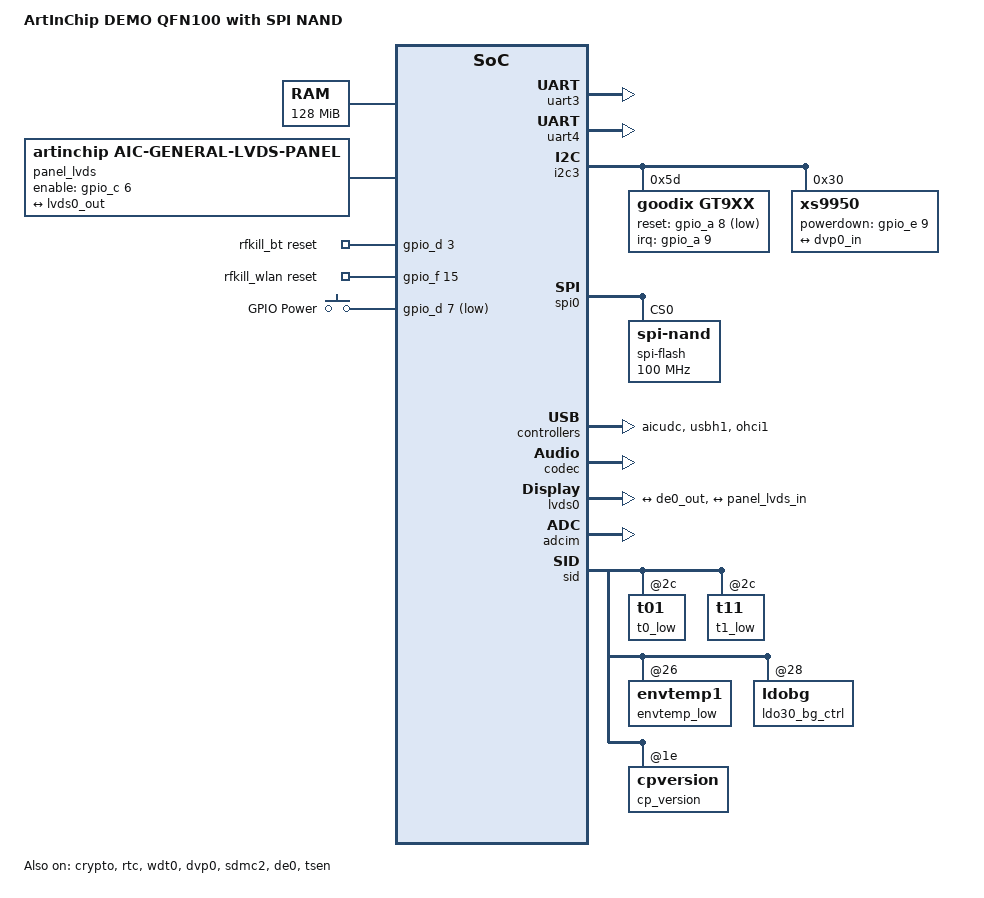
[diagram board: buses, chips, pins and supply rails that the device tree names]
/*
 * Copyright (C) 2020-2022 ArtInChip Technology Co., Ltd.
 *
 * This file is dual-licensed: you can use it either under the terms
 * of the GPL or the X11 license, at your option. Note that this dual
 * licensing only applies to this file, and not this project as a
 * whole.
 *
 *  a) This file is free software; you can redistribute it and/or
 *     modify it under the terms of the GNU General Public License as
 *     published by the Free Software Foundation; either version 2 of the
 *     License, or (at your option) any later version.
 *
 *     This file is distributed in the hope that it will be useful,
 *     but WITHOUT ANY WARRANTY; without even the implied warranty of
 *     MERCHANTABILITY or FITNESS FOR A PARTICULAR PURPOSE.  See the
 *     GNU General Public License for more details.
 *
 * Or, alternatively,
 *
 *  b) Permission is hereby granted, free of charge, to any person
 *     obtaining a copy of this software and associated documentation
 *     files (the "Software"), to deal in the Software without
 *     restriction, including without limitation the rights to use,
 *     copy, modify, merge, publish, distribute, sublicense, and/or
 *     sell copies of the Software, and to permit persons to whom the
 *     Software is furnished to do so, subject to the following
 *     conditions:
 *
 *     The above copyright notice and this permission notice shall be
 *     included in all copies or substantial portions of the Software.
 *
 *     THE SOFTWARE IS PROVIDED "AS IS", WITHOUT WARRANTY OF ANY KIND,
 *     EXPRESS OR IMPLIED, INCLUDING BUT NOT LIMITED TO THE WARRANTIES
 *     OF MERCHANTABILITY, FITNESS FOR A PARTICULAR PURPOSE AND
 *     NONINFRINGEMENT. IN NO EVENT SHALL THE AUTHORS OR COPYRIGHT
 *     HOLDERS BE LIABLE FOR ANY CLAIM, DAMAGES OR OTHER LIABILITY,
 *     WHETHER IN AN ACTION OF CONTRACT, TORT OR OTHERWISE, ARISING
 *     FROM, OUT OF OR IN CONNECTION WITH THE SOFTWARE OR THE USE OR
 *     OTHER DEALINGS IN THE SOFTWARE.
 */

/dts-v1/;
#include "d211.dtsi"
#include "d211-pinctrl.dtsi"
#include <dt-bindings/display/artinchip,aic-disp.h>
#include <dt-bindings/gpio/gpio.h>
#include <dt-bindings/pwm/pwm.h>
#include <dt-bindings/input/input.h>
#include <dt-bindings/input/linux-event-codes.h>

/ {
	model = "ArtInChip DEMO QFN100 with SPI NAND";
	compatible = "artinchip,d211";
	package = "QFN100";

	aliases {
		gpio0 = &gpio_a;
		gpio1 = &gpio_b;
		gpio2 = &gpio_c;
		gpio3 = &gpio_d;
		gpio4 = &gpio_e;
		gpio5 = &gpio_f;
		pinctrl = &pinctrl;
		serial0 = &uart0;
		serial1 = &uart1;
		serial2 = &uart2;
		serial3 = &uart3;
		serial4 = &uart4;
		serial5 = &uart5;
		serial6 = &uart6;
		serial7 = &uart7;
		i2c0 = &i2c0;
		i2c1 = &i2c1;
		i2c2 = &i2c2;
		i2c3 = &i2c3;
		can0 = &can0;
		can1 = &can1;
		spi0 = &spi0;
		spi1 = &spi1;
		spi2 = &spi2;
		spi3 = &spi3;
		gmac0 = &gmac0;
		gmac1 = &gmac1;
		rtc = &rtc;
		wdt0 = &wdt0;
		fb0 = &fb0;
		de0 = &de0;
		lvds0 = &lvds0;
		rgb0 = &rgb0;
		dsi0 = &dsi0;
		dvp0 = &dvp0;
		cir = &cir;
		adcim = &adcim;
		gpai = &gpai;
		rtp = &rtp;
		tsen = &tsen;
		pwm = &pwm;
		epwm = &epwm;
		cap = &cap;
		sdmc0 = &sdmc0;
		sdmc1 = &sdmc1;
		sdmc2 = &sdmc2;
		dma = &dma;
		crypto = &crypto;
		sid = &sid;
		mtop = &mtop;
		codec = &codec;
		wri = &wri;
		aicudc = &aicudc;
		usbh0 = &usbh0;
		usbh1 = &usbh1;
		ohci0 = &ohci0;
		ohci1 = &ohci1;
		i2s0 = &i2s0;
		i2s1 = &i2s1;
		ge = &ge;
	};

	chosen {
		stdout-path = "serial4:115200n8";
		bootargs = "rdinit=/init earlycon=sbi loglevel=7";
		reset-after-fw-burn;
	};
	config {
	};

	cpus {
		u-boot,dm-pre-reloc;
		cpu0: cpu@0 {
			u-boot,dm-pre-reloc;
		};
	};

	clocks {
		u-boot,dm-pre-reloc;
	};

	soc {
		u-boot,dm-pre-reloc;
	};

	timer {
		u-boot,dm-pre-reloc;
	};
	memory@40000000 {
		device_type = "memory";
		reg = <0x0 0x40000000 0x0 0x8000000>;
		u-boot,dm-pre-reloc;
	};

	/* Reserved 1M memory for aic ramdump
	   When enable CONFIG_AIC_RAMDUMP in linux kernel, also must enable below node.
	*/
	reserved-memory {
		#address-cells = <2>;
		#size-cells = <2>;
		ranges;

	#if 0
		aic_ramdump_buf {
			compatible = "artinchip,aic-ramdump";
			no-map;
			reg = <0x43f00000 0x100000>;
		};
	#endif
		};
#if 0
	syspower {
		compatible = "artinchip,aic-power";
		power-gpios = <&gpio_e 13 GPIO_ACTIVE_HIGH>;
	};
#endif

	panel_rgb {
		compatible = "artinchip,aic-general-rgb-panel";
		status = "disabled";

		enable-gpios = <&gpio_e 19 GPIO_ACTIVE_HIGH>;
		rgb-mode = <PRGB>;
		interface-format = <PRGB_16BIT_LD>;
		clock-phase = <DEGREE_0>;
		data-order = <RGB>;
		disp-dither = <DITHER_RGB565>;
		u-boot,dm-pre-reloc;

		port {
			u-boot,dm-pre-reloc;
			panel_rgb_in: endpoint {
				remote-endpoint = <&rgb0_out>;
				u-boot,dm-pre-reloc;
			};
		};

		display-timings {
			native-mode = <&timing0>;
			u-boot,dm-pre-reloc;
			timing0: 1024x600 {
				clock-frequency = <52000000>;
				hactive = <1024>;
				vactive = <600>;
				hback-porch = <160>;
				hfront-porch = <160>;
				hsync-len = <20>;
				vback-porch = <12>;
				vfront-porch = <20>;
				vsync-len = <3>;
				de-active = <1>;
				pixelclk-active = <1>;
				u-boot,dm-pre-reloc;
			};
		};
	};

	panel_lvds {
		compatible = "artinchip,aic-general-lvds-panel";
		data-mapping = "vesa-24";
		data-channel = "single-link0";
		status = "okay";
		u-boot,dm-pre-reloc;

		enable-gpios = <&gpio_c 6 GPIO_ACTIVE_HIGH>;
		port {
			u-boot,dm-pre-reloc;
			panel_lvds_in: endpoint {
				remote-endpoint = <&lvds0_out>;
				u-boot,dm-pre-reloc;
			};
		};

		display-timings {
			native-mode = <&timing1>;
			u-boot,dm-pre-reloc;
			timing1: 1024x600 {
				clock-frequency = <52000000>;
				hactive = <1024>;
				vactive = <600>;
				hback-porch = <160>;
				hfront-porch = <160>;
				hsync-len = <20>;
				vback-porch = <20>;
				vfront-porch = <12>;
				vsync-len = <3>;
				de-active = <1>;
				pixelclk-active = <1>;
				u-boot,dm-pre-reloc;
			};
		};
	};

	backlight: backlight {
		compatible = "pwm-backlight";
		/* pwm node name; pwm device No.; period_ns; pwm_polarity */
		pwms = <&pwm 3 1000000 0>;
		brightness-levels = <0 10 20 30 40 50 60 70 80 90 100>;
		default-brightness-level = <6>;
		u-boot,dm-pre-reloc;
		status = "disabled";
	};

	rfkill_bt {
		compatible = "rfkill-gpio";
		rfkill-name = "bluetooth";
		rfkill-type = <2>;
		reset-gpios = <&gpio_d 3 GPIO_ACTIVE_HIGH>;
		status = "okay";
	};

	rfkill_wlan {
		compatible = "rfkill-gpio";
		rfkill-name = "wlan";
		rfkill-type = <1>;
		reset-gpios = <&gpio_f 15 GPIO_ACTIVE_HIGH>;
		status = "okay";
	};

    keys: gpio-keys {
        compatible = "gpio-keys";

        power {
            wakeup-source;
            gpios = <&gpio_d 7 GPIO_ACTIVE_LOW>;
            label = "GPIO Power";
            linux,code = <KEY_POWER>;
        };
    };
};

&crypto {
	status = "okay";
};

&cmu {
	pll-int0 = <600000000>;
	pll-int1 = <1200000000>;
	pll-frac1 = <491520000>;
	pll-frac2 = <840000000>;
	axi0 = <240000000>;
	ahb0 = <240000000>;
	apb0 = <100000000>;
	apb1 = <24000000>;
	clk-out0 = <25000000>;
	clk-out1 = <25000000>;
	clk-out2 = <25000000>;
	clk-out3 = <25000000>;
	// clk-out0-enable;
	// clk-out1-enable;
	/* Enable clock out2 */
	clk-out2-enable;
	// clk-out3-enable;
	u-boot,dm-pre-reloc;
};

&rst {
	u-boot,dm-pre-reloc;
};

&osc24m {
	u-boot,dm-pre-reloc;
};

&rc1m {
	u-boot,dm-pre-reloc;
};

&osc32k {
	u-boot,dm-pre-reloc;
};

&rst {
	u-boot,dm-pre-reloc;
};

&rtc {
	aic,alarm-io-output;
	status = "okay";
};

&wdt0 {
	timeout-sec = <16>;
	status = "okay";
};

&uart0 {
	pinctrl-names = "default";
	pinctrl-0 = <&uart0_pins_a>;
	status = "disabled";
	u-boot,dm-pre-reloc;
};

&uart1 {
	pinctrl-names = "default";
	pinctrl-0 = <&uart1_pins_a>;
	status = "disabled";
};

&uart2 {
	pinctrl-names = "default";
	pinctrl-0 = <&uart2_pins_a>;
	status = "disabled";
};

&uart3 {
	pinctrl-names = "default";
	pinctrl-0 = <&uart3_pins_b>, <&uart3_rts_pins_b>, <&uart3_cts_pins_a>;
	status = "okay";
};

&uart4 {
	pinctrl-names = "default";
	pinctrl-0 = <&uart4_pins_d>;
	status = "okay";
	u-boot,dm-pre-reloc;
};

&uart5 {
	pinctrl-names = "default";
	pinctrl-0 = <&uart5_pins_a>;
	linux,rs485-enabled-at-boot-time;
	aic,rs485-compact-io-mode;
	status = "disabled";
};

&uart6 {
	pinctrl-names = "default";
	pinctrl-0 = <&uart6_pins_a>;
	status = "disabled";
};

&uart7 {
	pinctrl-names = "default";
	pinctrl-0 = <&uart7_pins_a>;
	status = "disabled";
};

&dvp0 {
	status = "okay";
	pinctrl-names = "default";
	pinctrl-0 = <&dvp_pins_a>;

	port@0 {
		reg = <0>;
		dvp0_in: endpoint {
		    remote-endpoint = <&camera_out>;
			bus-type = <6>; /* V4L2_FWNODE_BUS_TYPE_BT656 */
			bus-width = <8>;
		};
	};
};

&i2c0 {
	pinctrl-names = "default";
	pinctrl-0 = <&i2c0_pins_b>;
	status = "disabled";
	rtc@32 {
		compatible = "epson,rx8010";
		reg = <0x32>;
	};
};

&i2c1 {
	pinctrl-names = "default";
	pinctrl-0 = <&i2c1_pins_a>;
	status = "disabled";
};

&i2c2 {
	pinctrl-names = "default";
	pinctrl-0 = <&i2c2_pins_a>;
	status = "disabled";
};

&i2c3 {
	pinctrl-names = "default";
	pinctrl-0 = <&i2c3_pins_a>;
	status = "okay";

	gt9xx@5d {
		status = "okay";
		compatible = "goodix,gt9xx";
		reg = <0x5d>;
		reset-gpios = <&gpio_a 8 GPIO_ACTIVE_LOW>;
		irq-gpios = <&gpio_a 9 GPIO_ACTIVE_HIGH>;
		irq-flags = <2>;

		touchscreen-max-id = <11>;
		touchscreen-size-x = <1024>;
		touchscreen-size-y = <600>;
		touchscreen-max-w = <512>;
		touchscreen-max-p = <512>;

		goodix,int-sync = <1>;
	};

	xs9950: camera@30 {
		powerdown-gpios = <&gpio_e 9 GPIO_ACTIVE_HIGH>;
		status = "okay";
		compatible = "xs9950";
		reg = <0x30>;

		port {
			camera_out: endpoint {
				remote-endpoint = <&dvp0_in>;
				/* V4L2_FWNODE_BUS_TYPE_BT656*/
				bus-type = <6>;
				bus-width = <8>;
				data-shift = <2>;
				hsync-active = <0>;
				vsync-active = <0>;
				pclk-sample = <0>;
			};
		};
	};
};

&dma {
	u-boot,dm-pre-reloc;
};

&spi0 {
	pinctrl-names = "default";
	pinctrl-0 = <&spi0_pins_a>;
	status = "okay";
	u-boot,dm-pre-reloc;
	spi-max-frequency = <100000000>;
	spi-flash@0 {
		#address-cells = <1>;
		#size-cells = <1>;
		compatible = "spi-nand";
		spi-max-frequency = <100000000>;
		spi-tx-bus-width = <4>;
		spi-rx-bus-width = <4>;
		reg = <0>;
		// aic,encrypt;
		// aic,spi-id = <0>;
		status = "okay";
		u-boot,dm-pre-reloc;
	};
};

&spi1 {
	pinctrl-names = "default";
	pinctrl-0 = <&spi1_pins_a>;
	status = "disabled";
};

&spi2 {
	pinctrl-names = "default";
	pinctrl-0 = <&spi2_pins_a>;
	status = "disabled";
};

&spi3 {
	pinctrl-names = "default";
	pinctrl-0 = <&spi3_pins_a>;
	status = "disabled";
};

&sdmc0 {
	pinctrl-names = "default";
	pinctrl-0 = <&sdmc0_pins>;
	bus-width = <4>;
	cap-mmc-highspeed;
	status = "disabled";
};

&sdmc1 {
	pinctrl-names = "default";
	pinctrl-0 = <&sdmc1_pins>;
	bus-width = <4>;
	cap-sd-highspeed;
	status = "disable";
	u-boot,dm-pre-reloc;
};

&sdmc2 {
	pinctrl-names = "default";
	pinctrl-0 = <&sdmc2_pins>;
	bus-width = <4>;
	no-mmc;
	no-sd;
	non-removable;
	cap-sdio-irq;
	status = "okay";
};

/* case 1: USB0 = OTG Enable */
#if 0
&otg {
	otg-mode = "device";
	status = "okay";
};

&aicudc {
	pinctrl-names = "default";
	pinctrl-0 = <&usb0_pins_a>;
	status = "okay";
};

&usbh0 {
	aic,usb-ext-resistance = <0x40>;
	status = "okay";
};

&ohci0 {
	status = "okay";
};

/* case 2: USB0 = OTG Disable */
#else

&otg {
	status = "disabled";
};

/* case 2.1: USB0 = Device */
#if 1
&aicudc {
	pinctrl-names = "default";
	pinctrl-0 = <&usb0_pins_a>;
	status = "okay";
};

&usbh0 {
	aic,usb-ext-resistance = <0x40>;
	status = "disabled";
};
&ohci0 {
	status = "disabled";
};

/* case 2.2: USB0 = Host */
#else
&aicudc {
	aic,only-uboot-use;
	status = "okay";
};

&usbh0 {
	pinctrl-names = "default";
	pinctrl-0 = <&usb0_pins_a>;
	artinchip,sw_usb_phy0;
	aic,usb-ext-resistance = <0x40>;
	status = "okay";
};
&ohci0 {
	status = "okay";
};
#endif
#endif

&usbh1 {
	aic,usb-ext-resistance = <0x40>;
	status = "okay";
};
&ohci1 {
	status = "okay";
};

&pinctrl {
	u-boot,dm-pre-reloc;
	gmac0_local_pins: gmac0-2 {
		pins {
			pinmux = <AIC_PINMUX('E', 0, 6)>,
				 <AIC_PINMUX('E', 1, 6)>,
				 <AIC_PINMUX('E', 2, 6)>,
				 <AIC_PINMUX('E', 3, 6)>,
				 <AIC_PINMUX('E', 4, 6)>,
				 <AIC_PINMUX('E', 5, 6)>,
				 <AIC_PINMUX('E', 7, 6)>,
				 <AIC_PINMUX('E', 8, 6)>,
				 <AIC_PINMUX('E', 9, 6)>;
			bias-disable;
			drive-strength = <3>;
		};
	};

	pwm3_pins_d: pwm3-3 {
		pins {
			pinmux = <AIC_PINMUX('E', 19, 5)>;
			bias-disable;
			drive-strength = <3>;
		};
	};

	spk_pins_d: spk-3 {
		pins {
			pinmux = <AIC_PINMUX('E', 11, 4)>;
			bias-disable;
			drive-strength = <3>;
		};
	};
	dvp_pins_a: dvp-1 {
		pins {
			pinmux = <AIC_PINMUX('E', 0, 3)>,
					 <AIC_PINMUX('E', 1, 3)>,
					 <AIC_PINMUX('E', 2, 3)>,
					 <AIC_PINMUX('E', 3, 3)>,
					 <AIC_PINMUX('E', 4, 3)>,
					 <AIC_PINMUX('E', 5, 3)>,
					 <AIC_PINMUX('E', 6, 3)>,
					 <AIC_PINMUX('E', 7, 3)>,
					 <AIC_PINMUX('E', 8, 3)>,
					 <AIC_PINMUX('E', 10, 3)>;
			bias-disable;
			drive-strength = <3>;
		};
	};

	gpio_a: bank-0 {
		u-boot,dm-pre-reloc;
	};
	gpio_b: bank-1 {
		u-boot,dm-pre-reloc;
	};
	gpio_c: bank-2 {
		u-boot,dm-pre-reloc;
	};
	gpio_d: bank-3 {
		u-boot,dm-pre-reloc;
	};
	gpio_e: bank-4 {
		u-boot,dm-pre-reloc;
	};
	gpio_f: bank-5 {
		u-boot,dm-pre-reloc;
	};
	lvds1_pins: lvds1-0 {
			u-boot,dm-pre-reloc;
		pins {
			u-boot,dm-pre-reloc;
		};
	};
	uart0_pins_a: uart0-0 {
		u-boot,dm-pre-reloc;
		pins1 {
			u-boot,dm-pre-reloc;
		};
		pins2 {
			u-boot,dm-pre-reloc;
		};
	};
	spi0_pins_a: spi0-0 {
		u-boot,dm-pre-reloc;
		pins {
			u-boot,dm-pre-reloc;
		};
	};
	uart4_pins_d: uart4-3 {
		u-boot,dm-pre-reloc;
		pins {
			u-boot,dm-pre-reloc;
		};
		pins1 {
			u-boot,dm-pre-reloc;
		};
		pins2 {
			u-boot,dm-pre-reloc;
		};
	};
	sdmc1_pins: sdmc1-0 {
		u-boot,dm-pre-reloc;
		pins {
			u-boot,dm-pre-reloc;
		};
	};
};

&gmac0 {
	pinctrl-names = "default";
	pinctrl-0 = <&gmac0_local_pins>, <&clk_out2_pins_b>;
	phy-handle = <&gmac0_phy>;
	phy-reset-gpios = <&gpio_e 6 GPIO_ACTIVE_HIGH>;
	phy-addr = <1>;
	phy-mode = "rmii";
	max-speed = <100>;
	aic,use_extclk;


	status = "disabled";

	gmac0_mdio: mdio {
		compatible = "aicmac-mdio";
		#address-cells = <1>;
		#size-cells = <0>;
		gmac0_phy: ethernet-phy@1 {
			reg = <1>;
		};
	};
};

&gmac1 {
	status = "disabled";
};

&codec {
	pinctrl-names = "default";
	pinctrl-0 = <&spk_pins_d>, <&amic_pins>;
	pa-gpios = <&gpio_a 7 GPIO_ACTIVE_LOW>;
	status = "okay";
};

/* The data flow:
 * fb ---> de ----> lvds ----> panel
 *              |-> rgb  ->|
 *              '-> dsi  ->'
 */

&fb0 {
	artinchip,uboot-logo-on=<1>;
	height-virtual = <1200>;
	u-boot,dm-pre-reloc;
	port {
		u-boot,dm-pre-reloc;
		fb0_out: endpoint {
			remote-endpoint = <&de0_in>;
			u-boot,dm-pre-reloc;
		};
	};
};

&ve {
	u-boot,dm-pre-reloc;
};
&disp {
	u-boot,dm-pre-reloc;
};
&de0 {
	status = "okay";
	u-boot,dm-pre-reloc;

	port@0 {
		reg = <0>;
		u-boot,dm-pre-reloc;
		de0_in: endpoint {
			remote-endpoint = <&fb0_out>;
			u-boot,dm-pre-reloc;
		};
	};

	port@1 {
		reg = <1>;
		u-boot,dm-pre-reloc;
		de0_out: endpoint {
			remote-endpoint = <&lvds0_in>;
			u-boot,dm-pre-reloc;
		};
	};
};

&rgb0 {
	pinctrl-names = "default", "sleep";
	pinctrl-0 = <&lcd_rgb565_ld_pins>;
	pinctrl-1 = <&lcd_rgb565_ld_sleep_pins>;
	u-boot,dm-pre-reloc;
	status = "disabled";

	port@0 {
		reg = <0>;
		u-boot,dm-pre-reloc;
		rgb0_in: endpoint {
			remote-endpoint = <&rgb0_in>;
			u-boot,dm-pre-reloc;
		};
	};

	port@1 {
		reg = <1>;
		u-boot,dm-pre-reloc;
		rgb0_out: endpoint {
			remote-endpoint = <&panel_rgb_in>;
			u-boot,dm-pre-reloc;
		};
	};
};

&lvds0 {
	pinctrl-names = "default";
	pinctrl-0 = <&lvds0_pins>;
	status = "okay";
	u-boot,dm-pre-reloc;

	port@0 {
		reg = <0>;
		u-boot,dm-pre-reloc;
		lvds0_in: endpoint {
			remote-endpoint = <&de0_out>;
			u-boot,dm-pre-reloc;
		};
	};

	port@1 {
		reg = <1>;
		u-boot,dm-pre-reloc;
		lvds0_out: endpoint {
			remote-endpoint = <&panel_lvds_in>;
			u-boot,dm-pre-reloc;
		};
	};
};

&cir {
	pinctrl-names = "default";
	pinctrl-0 = <&cir_pins_a>;
	rx-level = <1>;
	linux,rc-map-name = "rc-empty";
	status = "disabled";
};

&adcim {
	status = "okay";
	aic,ldo-vref = <3300>;
	u-boot,dm-pre-reloc;
};

&gpai {
	status = "disabled";
	pinctrl-names = "default";
	pinctrl-0 = <&gpai7_pins>;

	gpai0 {
		aic,sample-period-ms = <18>;
		aic,high-level-thd = <1830>;
		aic,low-level-thd = <1800>;
		status = "disabled";
	};

	gpai1 {
		status = "disabled";
	};

	gpai2 {
		status = "disabled";
	};

	gpai3 {
		status = "disabled";
	};

	gpai4 {
		status = "disabled";
	};

	gpai5 {
		status = "disabled";
	};

	gpai6 {
		status = "disabled";
	};

	gpai7 {
		status = "disabled";
	};
};

&rtp {
	aic,max-pressure = <800>;
	aic,x-plate = <235>;
	pinctrl-names = "default";
	pinctrl-0 = <&rtp_pins>;
	status = "disabled";
};

&sid {
	u-boot,dm-pre-reloc;
	status = "okay";

	t0_low: t01@2c {
		u-boot,dm-pre-reloc;
	};
	t1_low: t11@2c {
		u-boot,dm-pre-reloc;
	};
	envtemp_low: envtemp1@26 {
		u-boot,dm-pre-reloc;
	};
	ldo30_bg_ctrl: ldobg@28 {
		u-boot,dm-pre-reloc;
	};
	cp_version: cpversion@1e {
		u-boot,dm-pre-reloc;
	};
};

&tsen {
	status = "okay";
	u-boot,dm-pre-reloc;
	aic,calibration-voltage = <3000>;

	tsen0 {
		u-boot,dm-pre-reloc;
		status = "okay";
	};

	tsen1 {
		u-boot,dm-pre-reloc;
		status = "okay";
	};
};

&pwm {
	status = "disabled";
	u-boot,dm-pre-reloc;
	pinctrl-names = "default";
	pinctrl-0 = <&pwm3_pins_d>;
	/* mode: up-count, down-count, up-down-count
	   action: none, low, high, inverse */
	pwm0 {
		aic,mode = "up-count";
		aic,tb-clk-rate = <24000000>;
		aic,rise-edge-delay = <10>;
		aic,fall-edge-delay = <10>;
		/*            CBD,    CBU,    CAD,    CAU,    PRD,   ZRO */
		aic,action0 = "none", "none", "none", "low", "none", "high";
		aic,action1 = "none", "none", "none", "high", "none", "low";
		status = "disabled";
		u-boot,dm-pre-reloc;
	};

	pwm1 {
		aic,mode = "down-count";
		aic,tb-clk-rate = <24000000>;
		aic,rise-edge-delay = <10>;
		aic,fall-edge-delay = <10>;
		/*            CBD,    CBU,    CAD,    CAU,    PRD,   ZRO */
		aic,action0 = "none", "none", "none", "low", "none", "high";
		aic,action1 = "none", "none", "none", "high", "none", "low";
		status = "disabled";
		u-boot,dm-pre-reloc;
	};

	pwm2 {
		aic,mode = "up-count";
		aic,tb-clk-rate = <24000000>;
		/*            CBD,    CBU,    CAD,    CAU,    PRD,   ZRO */
		aic,action0 = "none", "none", "none", "high", "low", "none";
		aic,action1 = "none", "none", "none", "low", "high", "none";
		aic,default-level = <0>;
		aic,rise-edge-delay = <10>;
		aic,fall-edge-delay = <10>;
		status = "okay";
		u-boot,dm-pre-reloc;
	};

	pwm3 {
		aic,mode = "up-count";
		aic,tb-clk-rate = <24000000>;
		/*            CBD,    CBU,    CAD,    CAU,    PRD,   ZRO */
		aic,action0 = "none", "none", "none", "low", "none", "high";
		aic,action1 = "none", "none", "none", "high", "none", "low";
		aic,rise-edge-delay = <10>;
		aic,fall-edge-delay = <10>;
		status = "okay";
		u-boot,dm-pre-reloc;
	};
};

&epwm {
	status = "disabled";
	pinctrl-names = "default";
	pinctrl-0 = <&epwm0_pins_a>,
			<&epwm1_pins_a>,
			<&epwm2_pins_a>;
	/* mode: up-count, down-count, up-down-count
	   action: none, low, high, inverse */
	epwm0 {
		aic,mode = "up-count";
		aic,tb-clk-rate = <24000000>;
		/*            CBD,    CBU,    CAD,    CAU,    PRD,   ZRO */
		aic,action0 = "none", "none", "none", "high", "none", "low";
		aic,action1 = "none", "high", "none", "none", "none", "low";
		aic,default-level = <0>;
		status = "disabled";
	};

	epwm1 {
		aic,mode = "up-count";
		aic,tb-clk-rate = <24000000>;
		/*            CBD,    CBU,    CAD,    CAU,    PRD,   ZRO */
		aic,action0 = "none", "none", "none", "high", "none", "low";
		aic,action1 = "none", "high", "none", "none", "none", "low";
		aic,default-level = <0>;
		status = "disabled";
	};

	epwm2 {
		aic,mode = "up-count";
		aic,tb-clk-rate = <24000000>;
		/*            CBD,    CBU,    CAD,    CAU,    PRD,   ZRO */
		aic,action0 = "none", "none", "none", "high", "none", "low";
		aic,action1 = "none", "high", "none", "none", "none", "low";
		aic,default-level = <0>;
		status = "disabled";
	};

	epwm3 {
		aic,mode = "up-count";
		aic,tb-clk-rate = <24000000>;
		/*            CBD,    CBU,    CAD,    CAU,    PRD,   ZRO */
		aic,action0 = "none", "none", "none", "high", "none", "low";
		aic,action1 = "none", "high", "none", "none", "none", "low";
		aic,default-level = <0>;
		status = "disabled";
	};

	epwm4 {
		aic,mode = "up-count";
		aic,tb-clk-rate = <24000000>;
		/*            CBD,    CBU,    CAD,    CAU,    PRD,   ZRO */
		aic,action0 = "none", "none", "none", "high", "none", "low";
		aic,action1 = "none", "high", "none", "none", "none", "low";
		aic,default-level = <0>;
		status = "disabled";
	};

	epwm5 {
		aic,mode = "up-count";
		aic,tb-clk-rate = <24000000>;
		/*            CBD,    CBU,    CAD,    CAU,    PRD,   ZRO */
		aic,action0 = "none", "none", "none", "high", "none", "low";
		aic,action1 = "none", "high", "none", "none", "none", "low";
		aic,default-level = <0>;
		status = "disabled";
	};
};

&cap {
	status = "disabled";
	pinctrl-names = "default";
	pinctrl-0 = <&cap0_pins_a>,
			<&cap1_pins_a>,
			<&cap2_pins_a>;
	cap0 {
		status = "disabled";
	};

	cap1 {
		status = "disabled";
	};

	cap2 {
		status = "disabled";
	};
};

&can0 {
       pinctrl-names = "default";
       pinctrl-0 = <&can0_pins_a>;
       status = "disabled";
};

&can1 {
       pinctrl-names = "default";
       pinctrl-0 = <&can1_pins_a>;
       status = "disabled";
};
